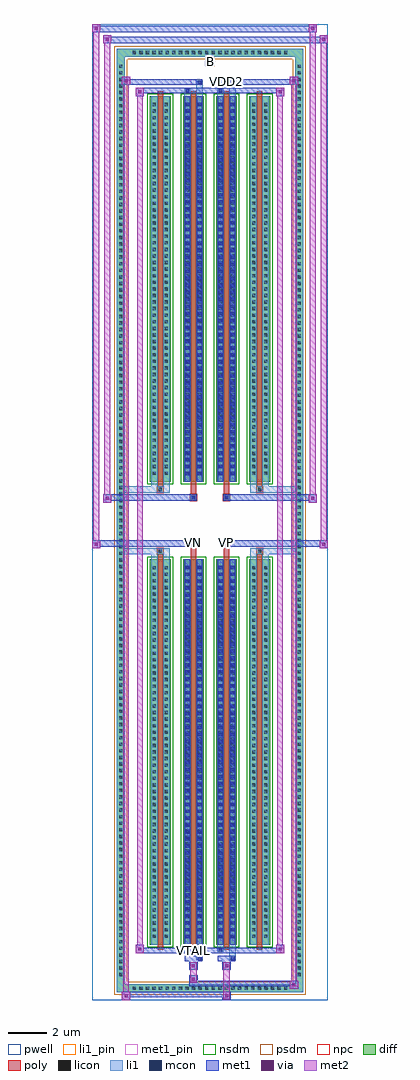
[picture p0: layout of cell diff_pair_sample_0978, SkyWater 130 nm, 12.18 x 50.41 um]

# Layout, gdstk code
import gdstk
lib = gdstk.Library(unit=1e-6, precision=5e-09)
def R(c, l, rs):  # rectangles x0, y0, x1, y1
    for r in rs: c.add(gdstk.rectangle(r[:2], r[2:], *l))
def A(c, l, x, y, w, h, nx, ny, dx, dy):  # array of equal rectangles
    R(c, l, [(x+i*dx, y+j*dy, x+i*dx+w, y+j*dy+h) for i in range(nx) for j in range(ny)])
def P(c, l, *ps):  # polygons
    for p in ps: c.add(gdstk.Polygon(p, *l))
pwell = (64, 44)
diff = (65, 20)
poly = (66, 20)
licon = (66, 44)
li1_pin = (67, 16)
li1 = (67, 20)
mcon = (67, 44)
met1_pin = (68, 16)
met1 = (68, 20)
via = (68, 44)
met2 = (69, 20)
nsdm = (93, 44)
psdm = (94, 20)
npc = (95, 20)

diff_pair_sample_0978 = lib.new_cell('diff_pair_sample_0978')
R(diff_pair_sample_0978, pwell, [(-6.09,-24.77,6.09,25.64), (-3.41,-22.96,-0.01,-0.82), (0.01,-22.96,3.41,-0.82), (-3.41,0.82,-0.01,22.96), (0.01,0.82,3.41,22.96)])
A(diff_pair_sample_0978, diff, -4.115, -24.37, 0.41, 0.41, 24, 2, 0.34, 48.33)
A(diff_pair_sample_0978, diff, -4.82, -23.665, 0.41, 0.41, 1, 139, 0, 0.34)
A(diff_pair_sample_0978, diff, 4.41, -23.665, 0.41, 0.41, 1, 139, 0, 0.34)
A(diff_pair_sample_0978, diff, -3.1, -21.915, 1.07, 19.91, 4, 2, 1.71, 23.92)
R(diff_pair_sample_0978, diff, [(-4.115,-24.37,4.115,-23.96), (-4.82,-23.665,-4.41,23.665), (4.41,-23.665,4.82,23.665), (-4.115,23.96,4.115,24.37)])
P(diff_pair_sample_0978, diff, [(4.82,24.37),(-4.82,24.37),(-4.82,-23.96),(-4.41,-23.96),(-4.41,23.96),(4.41,23.96),(4.41,-23.96),(-4.41,-23.96),(-4.82,-23.96),(-4.82,-24.37),(4.82,-24.37)])
A(diff_pair_sample_0978, poly, -2.71, -22.165, 0.29, 20.41, 4, 2, 1.71, 23.92)
R(diff_pair_sample_0978, poly, [(-2.73,-1.755,-2.4,-1.425), (-2.73,-1.755,-2.4,-1.425), (-1,-1.755,-0.71,-1.35), (0.71,-1.755,1,-1.35), (2.4,-1.755,2.73,-1.425), (2.4,-1.755,2.73,-1.425), (-1.02,-1.35,-0.69,-1.02), (-1.02,-1.35,-0.69,-1.02), (0.69,-1.35,1.02,-1.02), (0.69,-1.35,1.02,-1.02), (-1.02,1.02,-0.69,1.35), (-1.02,1.02,-0.69,1.35), (0.69,1.02,1.02,1.35), (0.69,1.02,1.02,1.35), (-1,1.35,-0.71,1.755), (0.71,1.35,1,1.755), (-2.73,1.425,-2.4,1.755), (-2.73,1.425,-2.4,1.755), (2.4,1.425,2.73,1.755), (2.4,1.425,2.73,1.755)])
A(diff_pair_sample_0978, licon, -3.995, -24.25, 0.17, 0.17, 24, 2, 0.34, 48.33)
A(diff_pair_sample_0978, licon, -4.7, -23.545, 0.17, 0.17, 1, 139, 0, 0.34)
A(diff_pair_sample_0978, licon, 4.53, -23.545, 0.17, 0.17, 1, 139, 0, 0.34)
A(diff_pair_sample_0978, licon, -2.96, -21.565, 0.17, 0.17, 1, 57, 0, 0.34)
A(diff_pair_sample_0978, licon, -2.34, -21.565, 0.17, 0.17, 1, 57, 0, 0.34)
A(diff_pair_sample_0978, licon, -1.25, -21.565, 0.17, 0.17, 1, 57, 0, 0.34)
A(diff_pair_sample_0978, licon, -0.63, -21.565, 0.17, 0.17, 1, 57, 0, 0.34)
A(diff_pair_sample_0978, licon, 0.46, -21.565, 0.17, 0.17, 1, 57, 0, 0.34)
A(diff_pair_sample_0978, licon, 1.08, -21.565, 0.17, 0.17, 1, 57, 0, 0.34)
A(diff_pair_sample_0978, licon, 2.17, -21.565, 0.17, 0.17, 1, 57, 0, 0.34)
A(diff_pair_sample_0978, licon, 2.79, -21.565, 0.17, 0.17, 1, 57, 0, 0.34)
A(diff_pair_sample_0978, licon, -2.96, 2.355, 0.17, 0.17, 1, 57, 0, 0.34)
A(diff_pair_sample_0978, licon, -2.34, 2.355, 0.17, 0.17, 1, 57, 0, 0.34)
A(diff_pair_sample_0978, licon, -1.25, 2.355, 0.17, 0.17, 1, 57, 0, 0.34)
A(diff_pair_sample_0978, licon, -0.63, 2.355, 0.17, 0.17, 1, 57, 0, 0.34)
A(diff_pair_sample_0978, licon, 0.46, 2.355, 0.17, 0.17, 1, 57, 0, 0.34)
A(diff_pair_sample_0978, licon, 1.08, 2.355, 0.17, 0.17, 1, 57, 0, 0.34)
A(diff_pair_sample_0978, licon, 2.17, 2.355, 0.17, 0.17, 1, 57, 0, 0.34)
A(diff_pair_sample_0978, licon, 2.79, 2.355, 0.17, 0.17, 1, 57, 0, 0.34)
R(diff_pair_sample_0978, licon, [(-2.65,-1.675,-2.48,-1.505), (2.48,-1.675,2.65,-1.505), (-0.94,-1.27,-0.77,-1.1), (0.77,-1.27,0.94,-1.1), (-0.94,1.1,-0.77,1.27), (0.77,1.1,0.94,1.27), (-2.65,1.505,-2.48,1.675), (2.48,1.505,2.65,1.675)])
R(diff_pair_sample_0978, li1_pin, [(-0.25,23.46,0.25,23.96)])
A(diff_pair_sample_0978, li1, -4.075, -24.33, 0.33, 0.33, 24, 2, 0.34, 48.33)
A(diff_pair_sample_0978, li1, -4.78, -23.625, 0.33, 0.33, 1, 139, 0, 0.34)
A(diff_pair_sample_0978, li1, 4.45, -23.625, 0.33, 0.33, 1, 139, 0, 0.34)
A(diff_pair_sample_0978, li1, -3.04, -21.645, 0.33, 0.33, 1, 57, 0, 0.34)
A(diff_pair_sample_0978, li1, -2.42, -21.645, 0.33, 0.33, 1, 57, 0, 0.34)
A(diff_pair_sample_0978, li1, -1.33, -21.645, 0.33, 0.33, 1, 57, 0, 0.34)
A(diff_pair_sample_0978, li1, -0.71, -21.645, 0.33, 0.33, 1, 57, 0, 0.34)
A(diff_pair_sample_0978, li1, 0.38, -21.645, 0.33, 0.33, 1, 57, 0, 0.34)
A(diff_pair_sample_0978, li1, 1, -21.645, 0.33, 0.33, 1, 57, 0, 0.34)
A(diff_pair_sample_0978, li1, 2.09, -21.645, 0.33, 0.33, 1, 57, 0, 0.34)
A(diff_pair_sample_0978, li1, 2.71, -21.645, 0.33, 0.33, 1, 57, 0, 0.34)
A(diff_pair_sample_0978, li1, -1.25, -21.585, 0.17, 0.17, 1, 54, 0, 0.36)
A(diff_pair_sample_0978, li1, -0.63, -21.585, 0.17, 0.17, 1, 54, 0, 0.36)
A(diff_pair_sample_0978, li1, 0.46, -21.585, 0.17, 0.17, 1, 54, 0, 0.36)
A(diff_pair_sample_0978, li1, 1.08, -21.585, 0.17, 0.17, 1, 54, 0, 0.36)
A(diff_pair_sample_0978, li1, -3.04, 2.275, 0.33, 0.33, 1, 57, 0, 0.34)
A(diff_pair_sample_0978, li1, -2.42, 2.275, 0.33, 0.33, 1, 57, 0, 0.34)
A(diff_pair_sample_0978, li1, -1.33, 2.275, 0.33, 0.33, 1, 57, 0, 0.34)
A(diff_pair_sample_0978, li1, -0.71, 2.275, 0.33, 0.33, 1, 57, 0, 0.34)
A(diff_pair_sample_0978, li1, 0.38, 2.275, 0.33, 0.33, 1, 57, 0, 0.34)
A(diff_pair_sample_0978, li1, 1, 2.275, 0.33, 0.33, 1, 57, 0, 0.34)
A(diff_pair_sample_0978, li1, 2.09, 2.275, 0.33, 0.33, 1, 57, 0, 0.34)
A(diff_pair_sample_0978, li1, 2.71, 2.275, 0.33, 0.33, 1, 57, 0, 0.34)
A(diff_pair_sample_0978, li1, -1.25, 2.335, 0.17, 0.17, 1, 54, 0, 0.36)
A(diff_pair_sample_0978, li1, -0.63, 2.335, 0.17, 0.17, 1, 54, 0, 0.36)
A(diff_pair_sample_0978, li1, 0.46, 2.335, 0.17, 0.17, 1, 54, 0, 0.36)
A(diff_pair_sample_0978, li1, 1.08, 2.335, 0.17, 0.17, 1, 54, 0, 0.36)
R(diff_pair_sample_0978, li1, [(-4.82,-24.37,-4.41,-23.96), (-4.82,-24.37,-4.41,-23.96), (-4.41,-24.37,4.41,-23.96), (4.41,-24.37,4.82,-23.96), (4.41,-24.37,4.82,-23.96), (-4.82,-23.96,-4.41,23.96), (4.41,-23.96,4.82,23.96), (-0.71,-22.72,-0.38,-21.915), (-0.63,-22.72,-0.46,-22.55), (1,-22.72,1.33,-21.915), (1.08,-22.72,1.25,-22.55), (-1.33,-22.29,-1,-21.915), (-1.25,-22.29,-1.08,-22.12), (0.38,-22.29,0.71,-21.915), (0.46,-22.29,0.63,-22.12), (-3.04,-21.915,-2.71,-2.005), (-2.42,-21.915,-2.09,-2.005), (-1.33,-21.915,-1,-2.005), (-0.71,-21.915,-0.38,-2.005), (0.38,-21.915,0.71,-2.005), (1,-21.915,1.33,-2.005), (2.09,-21.915,2.42,-2.005), (2.71,-21.915,3.04,-2.005), (-1.25,-21.585,-1.08,-2.335), (-0.63,-21.585,-0.46,-2.335), (0.46,-21.585,0.63,-2.335), (1.08,-21.585,1.25,-2.335), (-3.04,-2.005,-2.71,-1.425), (-2.42,-2.005,-2.09,-1.425), (2.09,-2.005,2.42,-1.425), (2.71,-2.005,3.04,-1.425), (-4.82,-1.755,-2.73,-1.425), (-3.04,-1.755,-2.73,-1.425), (-2.73,-1.755,-2.4,-1.425), (-2.4,-1.755,-2.09,-1.425), (2.09,-1.755,2.4,-1.425), (2.4,-1.755,2.73,-1.425), (2.4,-1.755,4.82,-1.425), (2.73,-1.755,3.04,-1.425), (-1.02,-1.35,-0.69,-1.02), (0.69,-1.35,1.02,-1.02), (-1.02,1.02,-0.69,1.35), (0.69,1.02,1.02,1.35), (-4.82,1.425,-2.73,1.755), (-3.04,1.425,-2.73,1.755), (-3.04,1.425,-2.71,2.005), (-2.73,1.425,-2.4,1.755), (-2.42,1.425,-2.09,2.005), (-2.4,1.425,-2.09,1.755), (2.09,1.425,2.4,1.755), (2.09,1.425,2.42,2.005), (2.4,1.425,2.73,1.755), (2.4,1.425,4.82,1.755), (2.71,1.425,3.04,2.005), (2.73,1.425,3.04,1.755), (-3.04,2.005,-2.71,21.915), (-2.42,2.005,-2.09,21.915), (-1.33,2.005,-1,21.915), (-0.71,2.005,-0.38,21.915), (0.38,2.005,0.71,21.915), (1,2.005,1.33,21.915), (2.09,2.005,2.42,21.915), (2.71,2.005,3.04,21.915), (-1.25,2.335,-1.08,21.585), (-0.63,2.335,-0.46,21.585), (0.46,2.335,0.63,21.585), (1.08,2.335,1.25,21.585), (-1.33,21.915,-1,22.29), (-0.71,21.915,-0.38,22.72), (0.38,21.915,0.71,22.29), (1,21.915,1.33,22.72), (-1.25,22.12,-1.08,22.29), (0.46,22.12,0.63,22.29), (-0.63,22.55,-0.46,22.72), (1.08,22.55,1.25,22.72), (-4.82,23.96,-4.41,24.37), (-4.82,23.96,-4.41,24.37), (-4.41,23.96,4.41,24.37), (4.41,23.96,4.82,24.37), (4.41,23.96,4.82,24.37)])
A(diff_pair_sample_0978, mcon, -1.25, -21.585, 0.17, 0.17, 1, 54, 0, 0.36)
A(diff_pair_sample_0978, mcon, -0.63, -21.585, 0.17, 0.17, 1, 54, 0, 0.36)
A(diff_pair_sample_0978, mcon, 0.46, -21.585, 0.17, 0.17, 1, 54, 0, 0.36)
A(diff_pair_sample_0978, mcon, 1.08, -21.585, 0.17, 0.17, 1, 54, 0, 0.36)
A(diff_pair_sample_0978, mcon, -1.25, 2.335, 0.17, 0.17, 1, 54, 0, 0.36)
A(diff_pair_sample_0978, mcon, -0.63, 2.335, 0.17, 0.17, 1, 54, 0, 0.36)
A(diff_pair_sample_0978, mcon, 0.46, 2.335, 0.17, 0.17, 1, 54, 0, 0.36)
A(diff_pair_sample_0978, mcon, 1.08, 2.335, 0.17, 0.17, 1, 54, 0, 0.36)
R(diff_pair_sample_0978, mcon, [(-0.63,-22.72,-0.46,-22.55), (1.08,-22.72,1.25,-22.55), (-1.25,-22.29,-1.08,-22.12), (0.46,-22.29,0.63,-22.12), (-0.94,-1.27,-0.77,-1.1), (0.77,-1.27,0.94,-1.1), (-0.94,1.1,-0.77,1.27), (0.77,1.1,0.94,1.27), (-1.25,22.12,-1.08,22.29), (0.46,22.12,0.63,22.29), (-0.63,22.55,-0.46,22.72), (1.08,22.55,1.25,22.72)])
R(diff_pair_sample_0978, met1_pin, [(-0.99,-22.33,-0.72,-22.06), (-0.99,-1.29,-0.72,-1.02), (0.72,-1.29,0.99,-1.02), (-0.99,22.51,-0.72,22.78), (0.72,22.51,0.99,22.78)])
A(diff_pair_sample_0978, met1, -1.31, -21.645, 0.29, 0.29, 1, 54, 0, 0.36)
A(diff_pair_sample_0978, met1, -0.69, -21.645, 0.29, 0.29, 1, 54, 0, 0.36)
A(diff_pair_sample_0978, met1, 0.4, -21.645, 0.29, 0.29, 1, 54, 0, 0.36)
A(diff_pair_sample_0978, met1, 1.02, -21.645, 0.29, 0.29, 1, 54, 0, 0.36)
A(diff_pair_sample_0978, met1, -1.31, 2.275, 0.29, 0.29, 1, 54, 0, 0.36)
A(diff_pair_sample_0978, met1, -0.69, 2.275, 0.29, 0.29, 1, 54, 0, 0.36)
A(diff_pair_sample_0978, met1, 0.4, 2.275, 0.29, 0.29, 1, 54, 0, 0.36)
A(diff_pair_sample_0978, met1, 1.02, 2.275, 0.29, 0.29, 1, 54, 0, 0.36)
R(diff_pair_sample_0978, met1, [(-4.55,-24.77,-4.12,-24.34), (0.64,-24.77,1.07,-24.34), (-4.55,-24.63,1.07,-24.34), (4.12,-24.2,4.55,-23.77), (-1.07,-24.06,4.55,-23.77), (-1.07,-23.92,-0.64,-23.49), (-1.07,-23.21,-0.64,-22.78), (0.64,-23.21,1.07,-22.78), (-1.31,-22.78,-0.4,-22.49), (-0.69,-22.78,-0.4,-22.49), (0.4,-22.78,1.31,-22.49), (1.02,-22.78,1.31,-22.49), (-3.84,-22.35,-3.41,-21.92), (-3.84,-22.35,-1.31,-22.06), (-1.31,-22.35,-1.02,-22.06), (-1.31,-22.35,-0.4,-22.06), (-0.4,-22.35,0.4,-22.06), (0.4,-22.35,0.69,-22.06), (0.4,-22.35,1.31,-22.06), (1.31,-22.35,3.84,-22.06), (3.41,-22.35,3.84,-21.92), (-1.31,-21.915,-1.02,-2.005), (-0.69,-21.915,-0.4,-2.005), (0.4,-21.915,0.69,-2.005), (1.02,-21.915,1.31,-2.005), (-6.09,-1.45,-5.66,-1.02), (5.66,-1.45,6.09,-1.02), (-6.09,-1.35,-0.69,-1.02), (-1.02,-1.35,-0.69,-1.02), (0.69,-1.35,1.02,-1.02), (0.69,-1.35,6.09,-1.02), (-1,-1.33,-0.71,-1.04), (0.71,-1.33,1,-1.04), (-5.52,0.92,-5.09,1.35), (5.09,0.92,5.52,1.35), (-5.52,1.02,-1.02,1.35), (-1.02,1.02,-0.69,1.35), (0.69,1.02,1.02,1.35), (1.02,1.02,5.52,1.35), (-1,1.04,-0.71,1.33), (0.71,1.04,1,1.33), (-1.31,2.005,-1.02,21.915), (-0.69,2.005,-0.4,21.915), (0.4,2.005,0.69,21.915), (1.02,2.005,1.31,21.915), (-3.84,21.92,-3.41,22.35), (3.41,21.92,3.84,22.35), (-3.84,22.06,-1.31,22.35), (-1.31,22.06,-1.02,22.35), (-1.31,22.06,-0.4,22.35), (-0.4,22.06,0.4,22.35), (0.4,22.06,0.69,22.35), (0.4,22.06,1.31,22.35), (1.31,22.06,3.84,22.35), (-4.55,22.49,-4.12,22.92), (-4.55,22.49,-1.31,22.78), (-1.31,22.49,-0.4,22.78), (-0.69,22.49,-0.4,22.78), (0.4,22.49,1.31,22.78), (1.02,22.49,1.31,22.78), (1.31,22.49,4.55,22.78), (4.12,22.49,4.55,22.92), (-5.52,24.64,-5.09,25.07), (-5.52,24.64,-3.41,24.97), (-3.41,24.64,3.41,24.97), (3.41,24.64,6.09,24.97), (5.66,24.64,6.09,25.07), (-6.09,25.21,-5.66,25.64), (-6.09,25.21,-3.41,25.54), (-3.41,25.21,3.41,25.54), (3.41,25.21,5.52,25.54), (5.09,25.21,5.52,25.64)])
R(diff_pair_sample_0978, via, [(-4.41,-24.63,-4.26,-24.48), (0.78,-24.63,0.93,-24.48), (4.26,-24.06,4.41,-23.91), (-0.93,-23.78,-0.78,-23.63), (-0.93,-23.07,-0.78,-22.92), (0.78,-23.07,0.93,-22.92), (-3.7,-22.21,-3.55,-22.06), (3.55,-22.21,3.7,-22.06), (-5.95,-1.31,-5.8,-1.16), (5.8,-1.31,5.95,-1.16), (-5.38,1.06,-5.23,1.21), (5.23,1.06,5.38,1.21), (-3.7,22.06,-3.55,22.21), (3.55,22.06,3.7,22.21), (-4.41,22.63,-4.26,22.78), (4.26,22.63,4.41,22.78), (-5.38,24.78,-5.23,24.93), (5.8,24.78,5.95,24.93), (-5.95,25.35,-5.8,25.5), (5.23,25.35,5.38,25.5)])
R(diff_pair_sample_0978, met2, [(-4.55,-24.77,-4.12,-24.34), (-4.48,-24.77,-4.19,22.92), (-4.19,-24.77,-4.12,-24.34), (-4.5,-24.72,-4.17,-24.39), (0.69,-24.72,1.02,-24.39), (0.69,-24.39,1.02,-23.16), (4.12,-24.2,4.55,-23.77), (4.19,-24.2,4.48,22.92), (4.48,-24.2,4.55,-23.77), (4.17,-24.15,4.5,-23.82), (-1.02,-23.87,-0.69,-23.54), (-1.02,-23.54,-0.69,-23.16), (-1.02,-23.16,-0.69,-22.83), (0.69,-23.16,1.02,-22.83), (-3.84,-22.35,-3.41,-21.92), (-3.77,-22.35,-3.48,22.35), (-3.48,-22.35,-3.41,-21.92), (3.41,-22.35,3.84,-21.92), (3.48,-22.35,3.77,22.35), (3.77,-22.35,3.84,-21.92), (-3.79,-22.3,-3.46,-21.97), (3.46,-22.3,3.79,-21.97), (-6.09,-1.45,-5.66,-1.02), (-6.04,-1.45,-5.71,25.64), (-5.71,-1.45,-5.66,-1.02), (5.66,-1.45,6.09,-1.02), (5.71,-1.45,6.04,25.07), (6.04,-1.45,6.09,-1.02), (-6.04,-1.4,-5.71,-1.07), (5.71,-1.4,6.04,-1.07), (-5.52,0.92,-5.09,1.35), (-5.47,0.92,-5.14,25.07), (-5.14,0.92,-5.09,1.35), (5.09,0.92,5.52,1.35), (5.14,0.92,5.47,25.64), (5.47,0.92,5.52,1.35), (-5.47,0.97,-5.14,1.3), (5.14,0.97,5.47,1.3), (-3.84,21.92,-3.41,22.35), (-3.48,21.92,-3.41,22.35), (3.41,21.92,3.84,22.35), (3.77,21.92,3.84,22.35), (-3.79,21.97,-3.46,22.3), (3.46,21.97,3.79,22.3), (-4.55,22.49,-4.12,22.92), (-4.19,22.49,-4.12,22.92), (4.12,22.49,4.55,22.92), (4.48,22.49,4.55,22.92), (-4.5,22.54,-4.17,22.87), (4.17,22.54,4.5,22.87), (-5.52,24.64,-5.09,25.07), (-5.14,24.64,-5.09,25.07), (5.66,24.64,6.09,25.07), (6.04,24.64,6.09,25.07), (-5.47,24.69,-5.14,25.02), (5.71,24.69,6.04,25.02), (-6.09,25.21,-5.66,25.64), (-5.71,25.21,-5.66,25.64), (5.09,25.21,5.52,25.64), (5.47,25.21,5.52,25.64), (-6.04,25.26,-5.71,25.59), (5.14,25.26,5.47,25.59)])
A(diff_pair_sample_0978, nsdm, -3.23, -22.045, 1.33, 20.17, 4, 2, 1.71, 23.92)
P(diff_pair_sample_0978, psdm, [(4.95,24.5),(-4.95,24.5),(-4.95,-23.83),(-4.28,-23.83),(-4.28,23.83),(4.28,23.83),(4.28,-23.83),(-4.28,-23.83),(-4.95,-23.83),(-4.95,-24.5),(4.95,-24.5)])
R(diff_pair_sample_0978, npc, [(-2.75,-1.775,-2.38,-1.405), (2.38,-1.775,2.75,-1.405), (-1.04,-1.37,-0.67,-1), (0.67,-1.37,1.04,-1), (-1.04,1,-0.67,1.37), (0.67,1,1.04,1.37), (-2.75,1.405,-2.38,1.775), (2.38,1.405,2.75,1.775)])
diff_pair_sample_0978.add(gdstk.Label('VTAIL', (-0.855,-22.195), layer=68, texttype=5))
diff_pair_sample_0978.add(gdstk.Label('VN', (-0.855,-1.155), layer=68, texttype=5))
diff_pair_sample_0978.add(gdstk.Label('VP', (0.855,-1.155), layer=68, texttype=5))
diff_pair_sample_0978.add(gdstk.Label('B', (0,23.71), layer=67, texttype=5))
diff_pair_sample_0978.add(gdstk.Label('VDD2', (0.855,22.645), layer=68, texttype=5))
diff_pair_sample_0978.add(gdstk.Label('VDD1', (-0.855,22.645), layer=68, texttype=5))

lib.write_gds('diff_pair_sample_0978.gds')
